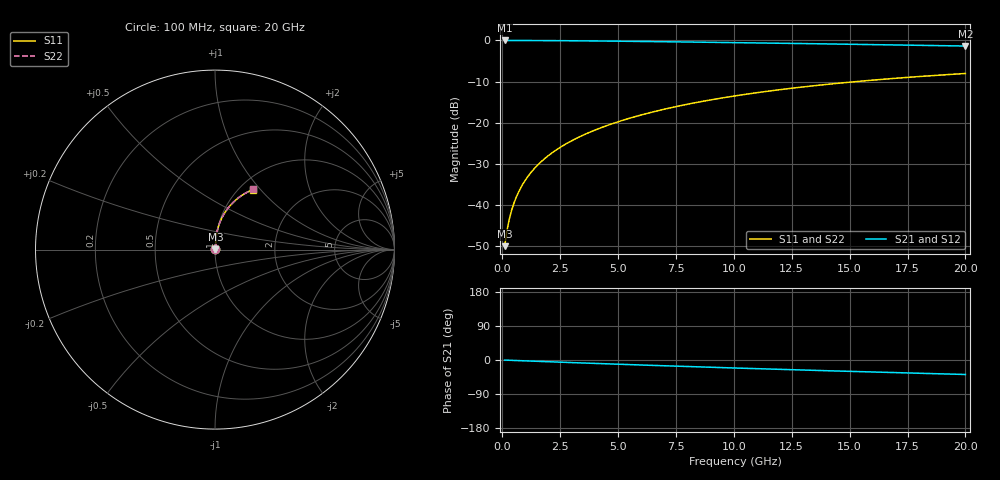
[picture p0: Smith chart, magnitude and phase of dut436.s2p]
! Touchstone file exported from HFSS 2024.1.0
!  File:  C:/UserFiles/LocalFiles/RDL_TSV_Batchsim/temp_RDL_bottom_436_1779684420.aedt
!  Generated:  12:49:54 PM May 25, 2026
!  Design:  RDL_bottom
!  Project:  temp_RDL_bottom_436_1779684420
!  Setup:  Setup1
!  Solution:  Sweep
! Variables:
!  dtsv = 10.80580581um
!  hbump = 3um
!  htsv = 57um
!  ldown = 494.85um
!  lrdl = 100um
!  p = 40
!  p1 = 59.17um
!  rhole = 1um
!  t = 450um
!  tdown = 3.83um
!  trdl = 3.915915916um
!  wdown = 20.85um
!  wrdl = 20um
# GHz S MA R 50.000000
! Terminal data exported
! Port[1] = RDL1_T1
! Port[2] = RDL1_T2
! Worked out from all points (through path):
!   200 points, 100 MHz to 20 GHz, reference 50 ohm
!   highest |S21| = -0.02 dB at 100 MHz (marker M1); lowest = -1.4 dB at 20 GHz (marker M2)
!   group delay of S21, straight-line fit = 5.26 ps
!   lowest |S11| = -49.9 dB at 100 MHz (marker M3), VSWR 1.01, Z = 50.2 + j0.214 ohm
!   |S11| at or under -10 dB: start of sweep to 15.28 GHz
!   |S22| runs from -49.9 to -8.0 dB; largest |S21 - S12| = 2.6e-15
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0.1  0.003184 41.9  0.9976 -0.2  0.9976 -0.2  0.003184 41.9
! Gamma 0 0 0 0
! Port Impedance 50 0 50 0
0.2  0.004873 59.5  0.9975 -0.5  0.9975 -0.5  0.004873 59.5
0.3  0.006729 67.4  0.9974 -0.7  0.9974 -0.7  0.006728 67.4
0.4  0.00862 71.9  0.9972 -0.9  0.9972 -0.9  0.00862 71.9
0.5  0.01053 74.8  0.9971 -1.2  0.9971 -1.2  0.01053 74.8
0.6  0.01245 76.9  0.9969 -1.4  0.9969 -1.4  0.01245 76.9
0.8  0.01633 79.6  0.9966 -1.9  0.9966 -1.9  0.01633 79.6
1.1  0.02221 81.9  0.996 -2.5  0.996 -2.5  0.02221 81.9
1.5  0.03015 83.4  0.9951 -3.5  0.9951 -3.5  0.03015 83.4
1.8  0.03615 84.1  0.9942 -4.1  0.9942 -4.1  0.03615 84.1
2.1  0.0422 84.4  0.9932 -4.8  0.9932 -4.8  0.04221 84.4
2.7  0.05444 84.7  0.9907 -6.2  0.9907 -6.2  0.05444 84.7
3.5  0.07102 84.5  0.9867 -7.9  0.9867 -7.9  0.07102 84.5
4.2  0.08577 84.0  0.9827 -9.5  0.9827 -9.5  0.08578 84.0
5  0.1029 83.2  0.9776 -11.2  0.9776 -11.2  0.1029 83.2
5.9  0.1223 82.0  0.9714 -13.0  0.9714 -13.0  0.1223 82.1
6.8  0.1419 80.7  0.9648 -14.9  0.9648 -14.9  0.1419 80.7
8.4  0.1767 78.1  0.9524 -18.0  0.9524 -18.0  0.1767 78.1
10.1  0.2131 75.1  0.9388 -21.2  0.9388 -21.2  0.2132 75.1
13.4  0.2805 69.1  0.9112 -27.2  0.9112 -27.2  0.2806 69.1
16.7  0.3418 63.2  0.8826 -32.9  0.8826 -32.9  0.3419 63.2
20  0.3964 57.6  0.8537 -38.2  0.8537 -38.2  0.3965 57.7
